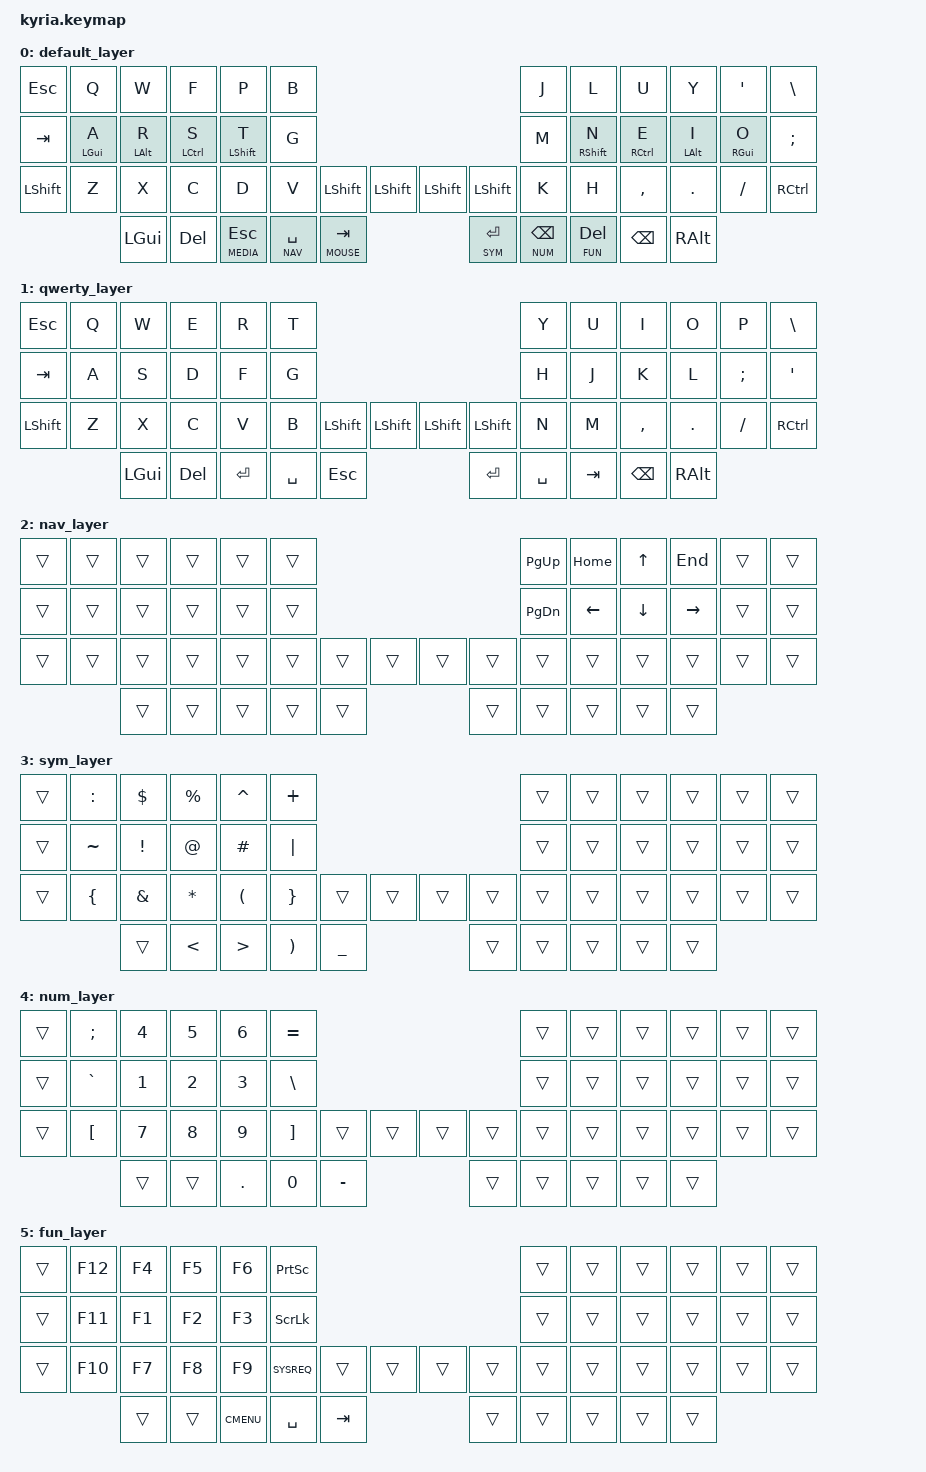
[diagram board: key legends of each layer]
/*
 * Copyright (c) 2020 The ZMK Contributors
 *
 * SPDX-License-Identifier: MIT
 */

#include <behaviors.dtsi>
#include <dt-bindings/zmk/keys.h>

#define DEFAULT 0
#define QWERTY  1
#define MEDIA   2
#define NAV     3
#define MOUSE   4
#define SYM     5
#define NUM     6
#define FUN     7

/ {
	behaviors {
		hm: homerow_mods {
			compatible = "zmk,behavior-hold-tap";
			label = "HOMEROW_MODS";
			#binding-cells = <2>;
			tapping-term-ms = <150>;
			quick_tap_ms = <0>;
			flavor = "tap-preferred";
			bindings = <&kp>, <&kp>;
		};
	};

	keymap {
		compatible = "zmk,keymap";
		default_layer {
			bindings = <
	&kp ESC   &kp Q      &kp W      &kp F       &kp P        &kp B                                                &kp J &kp L        &kp U       &kp Y     &kp SQT   &kp BSLH
	&kp TAB   &hm LGUI A &hm LALT R &hm LCTRL S &hm LSHIFT T &kp G                                                &kp M &hm RSHIFT N &hm RCTRL E &hm LALT I &hm RGUI O &kp SEMI
	&kp LSHFT &kp Z      &kp X      &kp C       &kp D        &kp V &kp LSHFT &kp LSHFT        &kp LSHFT &kp LSHFT &kp K &kp H        &kp COMMA   &kp DOT    &kp FSLH   &kp RCTRL
	                        &kp LGUI &kp DEL &lt MEDIA ESC &lt NAV SPACE &lt MOUSE TAB        &lt SYM RET &lt NUM BSPC &lt FUN DEL &kp BSPC &kp RALT
			>;
		};

		qwerty_layer {
			bindings = <
	&kp ESC   &kp Q &kp W &kp E &kp R &kp T                                                &kp Y &kp U  &kp I     &kp O   &kp P    &kp BSLH
	&kp TAB   &kp A &kp S &kp D &kp F &kp G                                                &kp H &kp J  &kp K     &kp L   &kp SEMI &kp SQT
	&kp LSHFT &kp Z &kp X &kp C &kp V &kp B &kp LSHFT &kp LSHFT        &kp LSHFT &kp LSHFT &kp N &kp M  &kp COMMA &kp DOT &kp FSLH &kp RCTRL
	                 &kp LGUI &kp DEL &kp RET &kp SPACE &kp ESC        &kp RET  &kp SPACE  &kp TAB &kp BSPC &kp RALT
			>;
		};


//		media_layer {
//			bindings = <
//	&trans &trans &trans &trans &trans &trans                                &trans &trans &trans &trans &trans &trans
//	&trans &trans &trans &trans &trans &trans                                &trans &trans &trans &trans &trans &trans
//	&trans &trans &trans &trans &trans &trans &trans &trans    &trans &trans &trans &trans &trans &trans &trans &trans
//	                     &trans &trans &trans &trans &trans    &trans &trans &trans &trans &trans
//			>;
//		};

		nav_layer {
			bindings = <
	&trans &trans &trans &trans &trans &trans                                &kp PG_UP &kp HOME &kp UP &kp END &trans &trans
	&trans &trans &trans &trans &trans &trans                                &kp PG_DN &kp LEFT &kp DOWN &kp RIGHT &trans &trans
	&trans &trans &trans &trans &trans &trans &trans &trans    &trans &trans &trans &trans &trans &trans &trans &trans
	                     &trans &trans &trans &trans &trans    &trans &trans &trans &trans &trans
			>;
		};

//		mouse_layer {
//			bindings = <
//	&trans &trans &trans &trans &trans &trans                                &trans &trans &trans &trans &trans &trans
//	&trans &trans &trans &trans &trans &trans                                &trans &trans &trans &trans &trans &trans
//	&trans &trans &trans &trans &trans &trans &trans &trans    &trans &trans &trans &trans &trans &trans &trans &trans
//	                     &trans &trans &trans &trans &trans    &trans &trans &trans &trans &trans
//			>;
//		};

		sym_layer {
			bindings = <
	&trans &kp COLON &kp DLLR &kp PRCNT &kp CARET &kp PLUS                                 &trans &trans &trans &trans &trans &trans
	&trans &kp TILDE &kp EXCL &kp AT &kp HASH &kp PIPE                                 &trans &trans &trans &trans &trans &trans
	&trans &kp LBRC  &kp AMPS &kp STAR &kp LPAR &kp RBRC &trans &trans    &trans &trans &trans &trans &trans &trans &trans &trans
	                         &trans &kp LT &kp GT &kp RPAR &kp UNDER    &trans &trans &trans &trans &trans
			>;
		};

		num_layer {
			bindings = <
	&trans &kp SEMI  &kp N4 &kp N5 &kp N6 &kp EQUAL                                   &trans &trans &trans &trans &trans &trans
	&trans &kp GRAVE &kp N1 &kp N2 &kp N3 &kp BSLH                                &trans &trans &trans &trans &trans &trans
	&trans &kp LBKT  &kp N7 &kp N8 &kp N9 &kp RBKT &trans &trans    &trans &trans &trans &trans &trans &trans &trans &trans
	                     &trans &trans &kp DOT  &kp 0  &kp MINUS     &trans &trans &trans &trans &trans
			>;
		};

		fun_layer {
			bindings = <
	&trans &kp F12 &kp F4 &kp F5 &kp F6 &kp PSCRN                                &trans &trans &trans &trans &trans &trans
	&trans &kp F11 &kp F1 &kp F2 &kp F3 &kp SLCK                                   &trans &trans &trans &trans &trans &trans
	&trans &kp F10 &kp F7 &kp F8 &kp F9 &kp SYSREQ &trans &trans    &trans &trans &trans &trans &trans &trans &trans &trans
	                     &trans &trans &kp K_CMENU &kp SPACE &kp TAB    &trans &trans &trans &trans &trans
			>;
		};
	};
};


// A start on documenting the layers
// QWERTY
// ---------------------------------------------------------------------------------------------------------------------------------
// |  ESC  |  Q  |  W  |  E   |  R   |  T   |                                          |  Y   |  U    |  I    |  O   |   P   |   \  |
// |  TAB  |  A  |  S  |  D   |  F   |  G   |                                          |  H   |  J    |  K    |  L   |   ;   |   '  |
// | SHIFT |  Z  |  X  |  C   |  V   |  B   | L SHIFT | L SHIFT |  | L SHIFT | L SHIFT |  N   |  M    |  ,    |  .   |   /   | CTRL |
//                     | GUI  | DEL  | RET  |  SPACE  |   ESC   |  |   RET   |  SPACE  | TAB  | BSPC  | R-ALT |
// GAME
// ---------------------------------------------------------------------------------------------------------------------------------
// |   T   | ESC |  Q  |  W   |  E   |  R   |                                          |  Y   |  U    |  I    |  O   |   P   |   \  |
// |   G   | TAB |  A  |  S   |  D   |  F   |                                          |  H   |  J    |  K    |  L   |   ;   |   '  |
// |   B   |SHIFT|  Z  |  X   |  C   |  V   | L SHIFT | L SHIFT |  | L SHIFT | L SHIFT |  N   |  M    |  ,    |  .   |   /   | CTRL |
//                     | GUI  | DEL  | CTRL |  SPACE  |   ESC   |  |   RET   |  SPACE  | TAB  | BSPC  | R-ALT |
// COLEMAK DH
// ---------------------------------------------------------------------------------------------------------------------------------
// |  ESC  |  Q  |  W  |  F   |  P   |  B   |                                          |  J   |  L    |  U    |  Y   |   '   |   \  |
// |  TAB  |  A  |  R  |  S   |  T   |  G   |                                          |  M   |  N    |  E    |  I   |   O   |   '  |
// | SHIFT |  Z  |  X  |  C   |  D   |  V   | L SHIFT | L SHIFT |  | L SHIFT | L SHIFT |  K   |  H    |  ,    |  .   |   /   | CTRL |
//                     | GUI  | DEL  | RET  |  SPACE  |   ESC   |  |   RET   |  SPACE  | TAB  | BSPC  | R-ALT |
// NUM
// ---------------------------------------------------------------------------------------------------------------------------------
// |  ESC  |  Q  |  W  |  E   |  R   |  T   |                                          |  Y   |  U    |  I    |  O   |   P   |   \  |
// |  TAB  |  A  |  S  |  D   |  F   |  G   |                                          |  H   |  J    |  K    |  L   |   ;   |   '  |
// | SHIFT |  Z  |  X  |  C   |  V   |  B   | L SHIFT | L SHIFT |  | L SHIFT | L SHIFT |  N   |  M    |  ,    |  .   |   /   | CTRL |
//                     | GUI  | DEL  | RET  |  SPACE  |   ESC   |  |   RET   |  SPACE  | TAB  | BSPC  | R-ALT |
